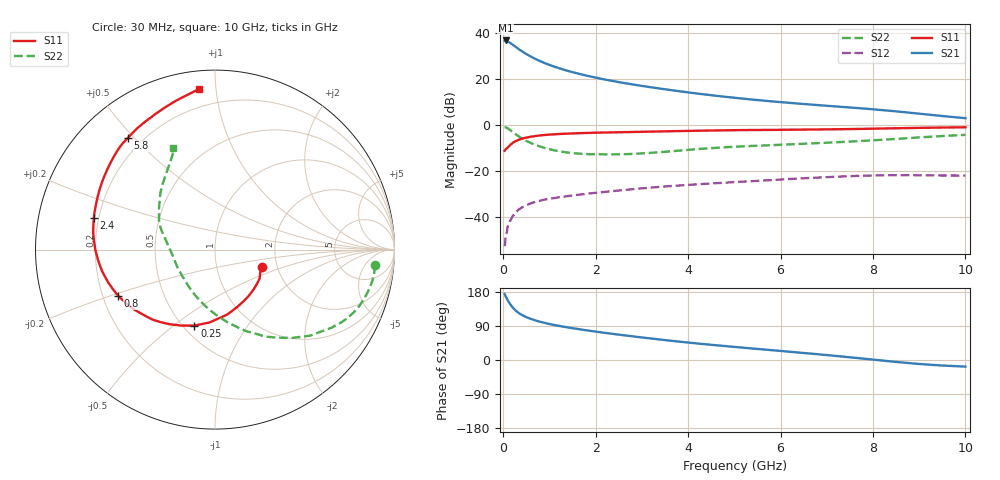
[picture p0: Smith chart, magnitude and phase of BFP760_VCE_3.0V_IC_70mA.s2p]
! Infineon Technologies  Discrete & RF Semiconductors
! BFP760
! VCE =  3.0 V,  IC =  70 mA
! Common Emitter S-Parameters:  Nov 2012
# GHz  S  MA  R  50
!  f  S11  S21  S12  S22
! GHz  MAG  ANG  MAG  ANG  MAG  ANG  MAG  ANG
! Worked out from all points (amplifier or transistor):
!   99 points, 30 MHz to 10 GHz, reference 50 ohm
!   highest |S21| = 36.9 dB at 50 MHz (marker M1)
!   |S21| within 3 dB of that: start of sweep to 283.6 MHz
!   unconditionally stable (mu >= 1): 3.019 GHz to end of sweep
!   at 350 MHz: K = 0.46, MSG = 34.8 dB, |S12| = -36.6 dB
!   at 3.5 GHz: K = 1.03, MAG = 20.1 dB, |S12| = -26.7 dB
!   at 10 GHz: K = 1.04, MAG = 11.2 dB, |S12| = -22.0 dB
!   S11 on the Smith chart (normalised r, x): 30 MHz: 1.65, -0.35; 250 MHz: 0.57, -0.60; 800 MHz: 0.26, -0.21; 2.4 GHz: 0.18, +0.13; 5.8 GHz: 0.15, +0.48; 10 GHz: 0.10, +0.90
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0.03  0.2776 -20.9  68.78 174.0  0.0023 87.0  0.8962 -5.6
0.04  0.283 -27.3  69.09 171.9  0.0025 85.6  0.8966 -8.4
0.05  0.2957 -32.6  70.31 168.9  0.0037 80.1  0.8944 -10.9
0.07  0.3078 -44.8  69.69 163.8  0.0044 77.7  0.8824 -16.0
0.09  0.3209 -55.3  67.82 159.2  0.0057 73.0  0.8651 -20.9
0.15  0.3692 -79.9  62.27 147.4  0.0082 66.4  0.7829 -33.7
0.2  0.4074 -94.4  57.13 139.3  0.0102 63.0  0.7153 -42.1
0.25  0.4385 -105.1  52.81 132.7  0.0119 61.4  0.6528 -48.9
0.3  0.4633 -114.0  48.36 127.3  0.0134 57.9  0.601 -54.8
0.35  0.4861 -121.2  44.26 122.9  0.0148 56.5  0.557 -60.3
0.45  0.5226 -131.7  37.99 115.9  0.017 52.8  0.4863 -69.1
0.6  0.5606 -143.4  31.2 108.3  0.0198 48.5  0.408 -80.7
0.8  0.5977 -154.5  24.85 100.9  0.0226 45.6  0.3419 -93.9
1.2  0.6406 -169.4  17.55 90.2  0.0267 42.7  0.2713 -115.9
1.7  0.671 178.0  12.74 80.2  0.031 42.0  0.2369 -137.2
2.4  0.6982 165.2  9.068 68.5  0.0368 41.9  0.2316 -159.6
3.4  0.7297 150.3  6.26 53.9  0.0451 40.5  0.2586 176.3
5.1  0.7793 132.9  3.87 33.5  0.0582 36.1  0.3423 154.8
5.8  0.7887 128.1  3.312 26.0  0.0634 34.2  0.366 148.4
6.7  0.8046 121.9  2.794 16.4  0.0711 30.3  0.4013 140.6
8.5  0.8567 104.9  2.002 -5.1  0.0813 18.2  0.5009 123.1
10  0.8998 95.8  1.42 -17.4  0.0798 12.5  0.6149 112.4
